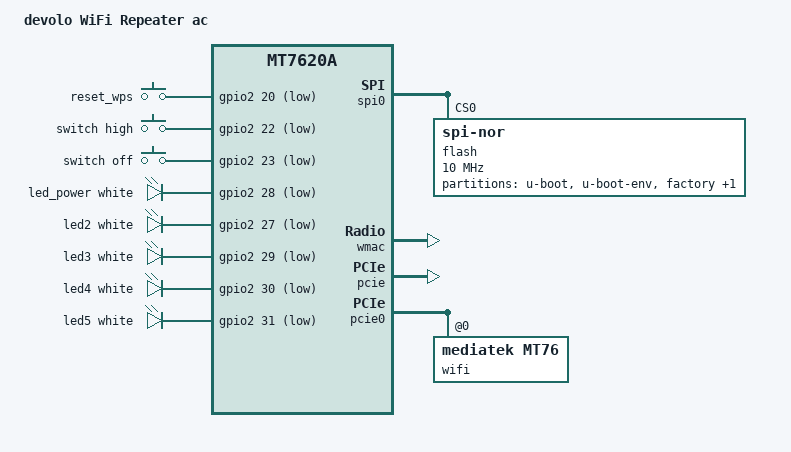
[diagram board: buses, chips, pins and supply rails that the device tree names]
// SPDX-License-Identifier: GPL-2.0-or-later OR MIT

#include "mt7620a.dtsi"

#include <dt-bindings/gpio/gpio.h>
#include <dt-bindings/input/input.h>
#include <dt-bindings/leds/common.h>

/ {
	compatible = "devolo,rac", "ralink,mt7620a-soc";
	model = "devolo WiFi Repeater ac";

	aliases {
		led-boot = &led_power;
		led-failsafe = &led_power;
		led-running = &led_power;
		led-upgrade = &led_power;
	};

	keys {
		compatible = "gpio-keys";

		reset_wps {
			label = "reset_wps";
			gpios = <&gpio2 20 GPIO_ACTIVE_LOW>;
			linux,code = <KEY_RESTART>;
		};

		switch_high {
			label = "switch high";
			gpios = <&gpio2 22 GPIO_ACTIVE_LOW>;
			linux,code = <BTN_0>;
			linux,input-type = <EV_SW>;
		};

		switch_off {
			label = "switch off";
			gpios = <&gpio2 23 GPIO_ACTIVE_LOW>;
			linux,code = <BTN_1>;
			linux,input-type = <EV_SW>;
		};
	};

	leds {

		compatible = "gpio-leds";

		led_power: power {
			function = LED_FUNCTION_POWER;
			color = <LED_COLOR_ID_WHITE>;
			gpios = <&gpio2 28 GPIO_ACTIVE_LOW>;
		};

		led2 {
			function = LED_FUNCTION_WLAN_5GHZ;
			color = <LED_COLOR_ID_WHITE>;
			function-enumerator = <0>;
			gpios = <&gpio2 27 GPIO_ACTIVE_LOW>;
			linux,default-trigger = "phy0radio";
		};

		led3 {
			function = LED_FUNCTION_WLAN_5GHZ;
			color = <LED_COLOR_ID_WHITE>;
			function-enumerator = <1>;
			gpios = <&gpio2 29 GPIO_ACTIVE_LOW>;
			linux,default-trigger = "phy0radio";
		};

		led4 {
			function = LED_FUNCTION_WLAN_2GHZ;
			color = <LED_COLOR_ID_WHITE>;
			function-enumerator = <0>;
			gpios = <&gpio2 30 GPIO_ACTIVE_LOW>;
			linux,default-trigger = "phy1radio";
		};

		led5 {
			function = LED_FUNCTION_WLAN_2GHZ;
			color = <LED_COLOR_ID_WHITE>;
			function-enumerator = <1>;
			gpios = <&gpio2 31 GPIO_ACTIVE_LOW>;
			linux,default-trigger = "phy1radio";
		};
	};
};

&gpio2 {
	status = "okay";
};

&spi0 {
	status = "okay";

	flash@0 {
		compatible = "jedec,spi-nor";
		reg = <0>;
		spi-max-frequency = <10000000>;

		partitions {
			compatible = "fixed-partitions";
			#address-cells = <1>;
			#size-cells = <1>;

			partition@0 {
				label = "u-boot";
				reg = <0x0 0x30000>;
				read-only;
			};

			partition@30000 {
				label = "u-boot-env";
				reg = <0x30000 0x10000>;
				read-only;
			};

			partition@40000 {
				label = "factory";
				reg = <0x40000 0x10000>;
				read-only;

				nvmem-layout {
					compatible = "fixed-layout";
					#address-cells = <1>;
					#size-cells = <1>;

					eeprom_factory_0: eeprom@0 {
						reg = <0x0 0x200>;
					};

					eeprom_factory_8000: eeprom@8000 {
						reg = <0x8000 0x200>;
					};

					macaddr_factory_4: macaddr@4 {
						compatible = "mac-base";
						reg = <0x4 0x6>;
						#nvmem-cell-cells = <1>;
					};
				};
			};

			partition@50000 {
				compatible = "denx,uimage";
				label = "firmware";
				reg = <0x50000 0x7b0000>;
			};
		};
	};
};

&state_default {
	gpio {
		groups = "i2c", "uartf", "nd_sd", "rgmii2";
		function = "gpio";
	};
};

&pinctrl {
	phy_reset_pins: phy-reset {
		gpio {
			groups = "spi refclk";
			function = "gpio";
		};
	};
};

&ethernet {
	pinctrl-names = "default";
	pinctrl-0 = <&rgmii1_pins>,<&mdio_pins>;

	nvmem-cells = <&macaddr_factory_4 0>;
	nvmem-cell-names = "mac-address";

	port@5 {
		status = "okay";
		mediatek,fixed-link = <1000 1 1 1>;
		phy-mode = "rgmii";
	};
};

&gsw {
	mediatek,ephy-base = /bits/ 8 <8>;
};

&wmac {
	nvmem-cells = <&eeprom_factory_0>;
	nvmem-cell-names = "eeprom";
};

&pcie {
	status = "okay";
};

&pcie0 {
	wifi@0,0 {
		compatible = "mediatek,mt76";
		reg = <0x0000 0 0 0 0>;
		ieee80211-freq-limit = <5000000 6000000>;
		nvmem-cells = <&eeprom_factory_8000>, <&macaddr_factory_4 2>;
		nvmem-cell-names = "eeprom", "mac-address";
	};
};
